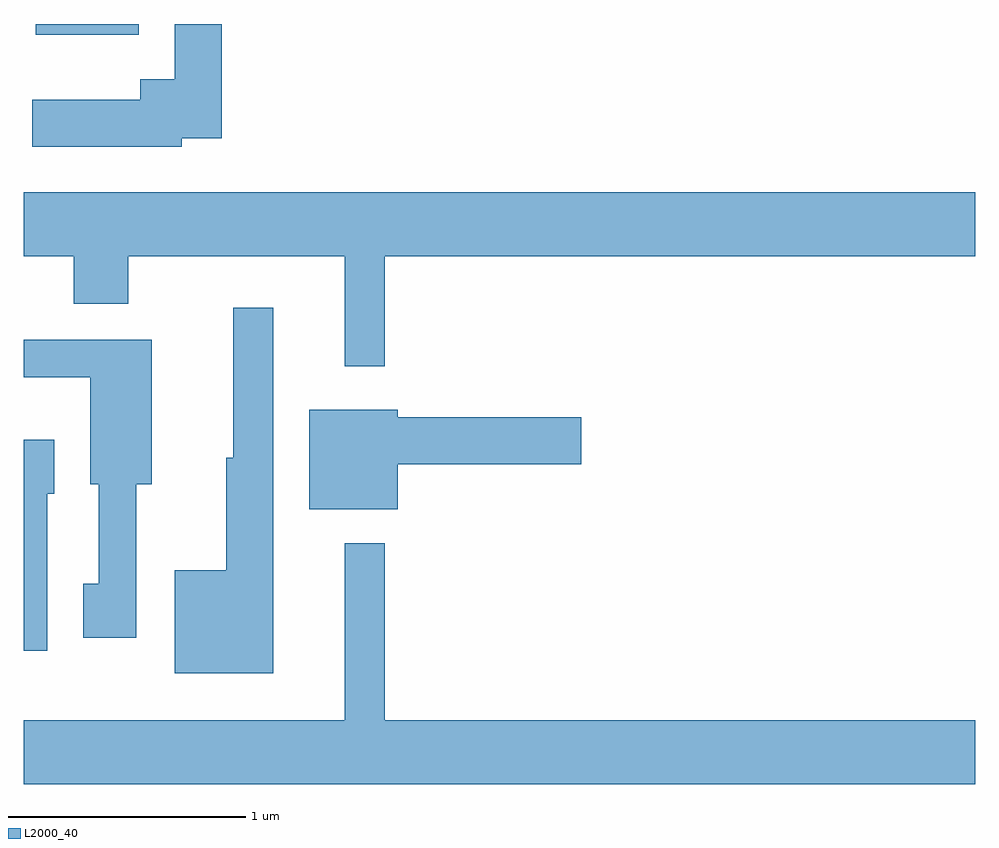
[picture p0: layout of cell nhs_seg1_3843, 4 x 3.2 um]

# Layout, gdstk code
import gdstk
lib = gdstk.Library(unit=1e-6, precision=1e-09)
def R(c, l, rs):  # rectangles x0, y0, x1, y1
    for r in rs: c.add(gdstk.rectangle(r[:2], r[2:], *l))
def P(c, l, *ps):  # polygons
    for p in ps: c.add(gdstk.Polygon(p, *l))
L2000_40 = (2000, 40)

nhs_seg1_3843 = lib.new_cell('nhs_seg1_3843')
R(nhs_seg1_3843, L2000_40, [(301.661,851.666,302.094,851.712)])
P(nhs_seg1_3843, L2000_40, [(302.274,851.231),(302.444,851.231),(302.444,851.712),(302.246,851.712),(302.246,851.479),(302.101,851.479),(302.101,851.394),(301.646,851.394),(301.646,851.196),(302.274,851.196)],
  [(303.129,850.736),(305.611,850.736),(305.611,851.004),(301.611,851.004),(301.611,850.736),(301.821,850.736),(301.821,850.536),(302.049,850.536),(302.049,850.736),(302.961,850.736),(302.961,850.273),(303.129,850.273)],
  [(302.659,850.518),(302.491,850.518),(302.491,849.889),(302.461,849.889),(302.461,849.414),(302.246,849.414),(302.246,848.981),(302.659,848.981)],
  [(302.084,849.776),(302.149,849.776),(302.149,850.384),(301.611,850.384),(301.611,850.226),(301.891,850.226),(301.891,849.776),(301.926,849.776),(301.926,849.359),(301.861,849.359),(301.861,849.131),(302.084,849.131)],
  [(303.184,849.861),(303.954,849.861),(303.954,850.059),(303.184,850.059),(303.184,850.089),(302.811,850.089),(302.811,849.671),(303.184,849.671)],
  [(301.709,849.736),(301.739,849.736),(301.739,849.964),(301.611,849.964),(301.611,849.076),(301.709,849.076)],
  [(305.611,848.784),(303.129,848.784),(303.129,849.528),(302.961,849.528),(302.961,848.784),(301.611,848.784),(301.611,848.516),(305.611,848.516)])

lib.write_gds('nhs_seg1_3843.gds')
